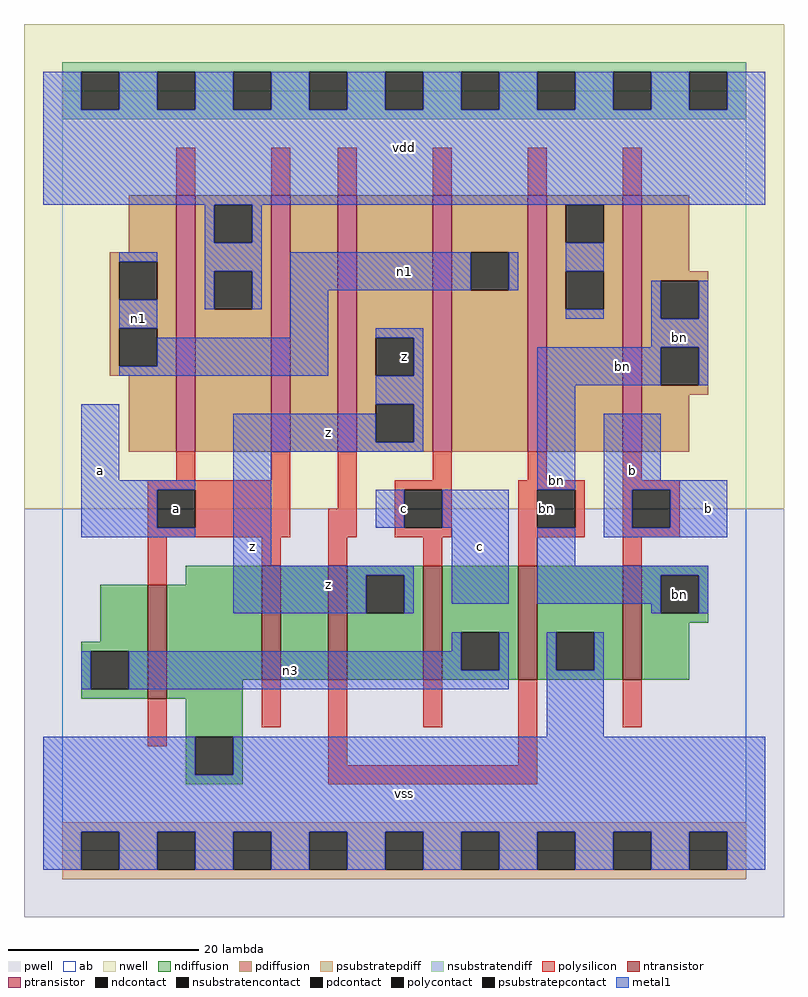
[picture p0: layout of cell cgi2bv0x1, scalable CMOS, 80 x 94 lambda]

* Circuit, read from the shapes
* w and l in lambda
.subckt cgi2bv0x1 a b bn c n1 n3 vdd vss z
M1 vss a n3 vss nfet w=12 l=2
M2 n2 a vss vss nfet w=12 l=2
M3 z bn n2 vss nfet w=12 l=2
M4 n3 c z vss nfet w=12 l=2
M5 vss bn n3 vss nfet w=12 l=2
M6 bn b vss vss nfet w=12 l=2
M7 vdd a n1 vdd pfet w=27 l=2
M8 n4 a vdd vdd pfet w=27 l=2
M9 z bn n4 vdd pfet w=27 l=2
M10 n1 c z vdd pfet w=27 l=2
M11 vdd bn n1 vdd pfet w=27 l=2
M12 bn b vdd vdd pfet w=27 l=2
.ends

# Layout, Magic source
magic
tech scmos
<< ab >>
rect 0 0 72 80
<< pwell >>
rect -4 -7 76 36
<< nwell >>
rect -4 36 76 87
<< polysilicon >>
rect 12 69 14 74
rect 22 69 24 74
rect 29 69 31 74
rect 39 69 41 74
rect 49 69 51 74
rect 59 69 61 74
rect 12 39 14 42
rect 22 39 24 42
rect 9 38 24 39
rect 9 34 10 38
rect 14 34 24 38
rect 29 36 31 42
rect 39 39 41 42
rect 49 39 51 42
rect 59 39 61 42
rect 9 33 24 34
rect 28 33 31 36
rect 35 38 41 39
rect 35 34 36 38
rect 40 34 41 38
rect 35 33 41 34
rect 48 38 55 39
rect 48 34 50 38
rect 54 34 55 38
rect 48 33 55 34
rect 59 38 65 39
rect 59 34 60 38
rect 64 34 65 38
rect 59 33 65 34
rect 9 28 11 33
rect 21 30 23 33
rect 28 30 30 33
rect 38 30 40 33
rect 48 30 50 33
rect 59 30 61 33
rect 9 11 11 16
rect 21 13 23 18
rect 28 9 30 18
rect 38 13 40 18
rect 48 9 50 18
rect 59 13 61 18
rect 28 7 50 9
<< ndiffusion >>
rect 13 28 21 30
rect 4 22 9 28
rect 2 21 9 22
rect 2 17 3 21
rect 7 17 9 21
rect 2 16 9 17
rect 11 18 21 28
rect 23 18 28 30
rect 30 29 38 30
rect 30 25 32 29
rect 36 25 38 29
rect 30 18 38 25
rect 40 23 48 30
rect 40 19 42 23
rect 46 19 48 23
rect 40 18 48 19
rect 50 23 59 30
rect 50 19 52 23
rect 56 19 59 23
rect 50 18 59 19
rect 61 29 68 30
rect 61 25 63 29
rect 67 25 68 29
rect 61 24 68 25
rect 61 18 66 24
rect 11 16 19 18
rect 13 12 19 16
rect 13 8 14 12
rect 18 8 19 12
rect 13 7 19 8
<< pdiffusion >>
rect 7 63 12 69
rect 5 62 12 63
rect 5 58 6 62
rect 10 58 12 62
rect 5 55 12 58
rect 5 51 6 55
rect 10 51 12 55
rect 5 50 12 51
rect 7 42 12 50
rect 14 68 22 69
rect 14 64 16 68
rect 20 64 22 68
rect 14 61 22 64
rect 14 57 16 61
rect 20 57 22 61
rect 14 42 22 57
rect 24 42 29 69
rect 31 54 39 69
rect 31 50 33 54
rect 37 50 39 54
rect 31 47 39 50
rect 31 43 33 47
rect 37 43 39 47
rect 31 42 39 43
rect 41 63 49 69
rect 41 59 43 63
rect 47 59 49 63
rect 41 42 49 59
rect 51 68 59 69
rect 51 64 53 68
rect 57 64 59 68
rect 51 61 59 64
rect 51 57 53 61
rect 57 57 59 61
rect 51 42 59 57
rect 61 61 66 69
rect 61 60 68 61
rect 61 56 63 60
rect 67 56 68 60
rect 61 53 68 56
rect 61 49 63 53
rect 67 49 68 53
rect 61 48 68 49
rect 61 42 66 48
<< metal1 >>
rect -2 78 2 82
rect 6 78 10 82
rect 14 78 18 82
rect 22 78 26 82
rect 30 78 34 82
rect 38 78 42 82
rect 46 78 50 82
rect 54 78 58 82
rect 62 78 66 82
rect 70 78 74 82
rect -2 68 74 78
rect 15 64 16 68
rect 20 64 21 68
rect 6 62 10 63
rect 6 55 10 58
rect 15 61 21 64
rect 15 57 16 61
rect 20 57 21 61
rect 24 59 43 63
rect 47 59 48 63
rect 53 61 57 64
rect 24 54 28 59
rect 53 56 57 57
rect 62 56 63 60
rect 67 56 68 60
rect 10 51 28 54
rect 6 50 28 51
rect 33 54 38 55
rect 37 50 38 54
rect 62 53 68 56
rect 33 47 38 50
rect 2 39 6 47
rect 18 43 33 46
rect 37 43 38 47
rect 18 42 38 43
rect 50 49 63 53
rect 67 49 68 53
rect 2 38 14 39
rect 2 34 10 38
rect 2 33 14 34
rect 18 30 22 42
rect 50 38 54 49
rect 33 34 36 38
rect 40 34 47 38
rect 18 29 37 30
rect 18 25 32 29
rect 36 25 37 29
rect 41 26 47 34
rect 50 30 54 34
rect 57 39 63 46
rect 57 38 70 39
rect 57 34 60 38
rect 64 34 70 38
rect 57 33 70 34
rect 50 29 68 30
rect 50 26 63 29
rect 62 25 63 26
rect 67 25 68 29
rect 41 21 42 23
rect 2 17 3 21
rect 7 19 42 21
rect 46 19 47 23
rect 7 17 47 19
rect 51 19 52 23
rect 56 19 57 23
rect 51 12 57 19
rect -2 8 14 12
rect 18 8 74 12
rect -2 2 74 8
rect -2 -2 2 2
rect 6 -2 10 2
rect 14 -2 18 2
rect 22 -2 26 2
rect 30 -2 34 2
rect 38 -2 42 2
rect 46 -2 50 2
rect 54 -2 58 2
rect 62 -2 66 2
rect 70 -2 74 2
<< ntransistor >>
rect 9 16 11 28
rect 21 18 23 30
rect 28 18 30 30
rect 38 18 40 30
rect 48 18 50 30
rect 59 18 61 30
<< ptransistor >>
rect 12 42 14 69
rect 22 42 24 69
rect 29 42 31 69
rect 39 42 41 69
rect 49 42 51 69
rect 59 42 61 69
<< polycontact >>
rect 10 34 14 38
rect 36 34 40 38
rect 50 34 54 38
rect 60 34 64 38
<< ndcontact >>
rect 3 17 7 21
rect 32 25 36 29
rect 42 19 46 23
rect 52 19 56 23
rect 63 25 67 29
rect 14 8 18 12
<< pdcontact >>
rect 6 58 10 62
rect 6 51 10 55
rect 16 64 20 68
rect 16 57 20 61
rect 33 50 37 54
rect 33 43 37 47
rect 43 59 47 63
rect 53 64 57 68
rect 53 57 57 61
rect 63 56 67 60
rect 63 49 67 53
<< psubstratepcontact >>
rect 2 -2 6 2
rect 10 -2 14 2
rect 18 -2 22 2
rect 26 -2 30 2
rect 34 -2 38 2
rect 42 -2 46 2
rect 50 -2 54 2
rect 58 -2 62 2
rect 66 -2 70 2
<< nsubstratencontact >>
rect 2 78 6 82
rect 10 78 14 82
rect 18 78 22 82
rect 26 78 30 82
rect 34 78 38 82
rect 42 78 46 82
rect 50 78 54 82
rect 58 78 62 82
rect 66 78 70 82
<< psubstratepdiff >>
rect 0 2 72 3
rect 0 -2 2 2
rect 6 -2 10 2
rect 14 -2 18 2
rect 22 -2 26 2
rect 30 -2 34 2
rect 38 -2 42 2
rect 46 -2 50 2
rect 54 -2 58 2
rect 62 -2 66 2
rect 70 -2 72 2
rect 0 -3 72 -2
<< nsubstratendiff >>
rect 0 82 72 83
rect 0 78 2 82
rect 6 78 10 82
rect 14 78 18 82
rect 22 78 26 82
rect 30 78 34 82
rect 38 78 42 82
rect 46 78 50 82
rect 54 78 58 82
rect 62 78 66 82
rect 70 78 72 82
rect 0 77 72 78
<< labels >>
rlabel polycontact 51 36 51 36 6 bn
rlabel metal1 4 40 4 40 6 a
rlabel metal1 8 56 8 56 6 n1
rlabel metal1 20 32 20 32 6 z
rlabel polycontact 12 36 12 36 6 a
rlabel metal1 36 6 36 6 6 vss
rlabel metal1 28 28 28 28 6 z
rlabel metal1 28 44 28 44 6 z
rlabel metal1 36 36 36 36 6 c
rlabel pdcontact 36 52 36 52 6 z
rlabel metal1 36 74 36 74 6 vdd
rlabel metal1 24 19 24 19 6 n3
rlabel metal1 44 32 44 32 6 c
rlabel metal1 52 39 52 39 6 bn
rlabel metal1 36 61 36 61 6 n1
rlabel ndcontact 65 27 65 27 6 bn
rlabel metal1 60 40 60 40 6 b
rlabel metal1 68 36 68 36 6 b
rlabel metal1 65 54 65 54 6 bn
rlabel metal1 59 51 59 51 6 bn
<< end >>
